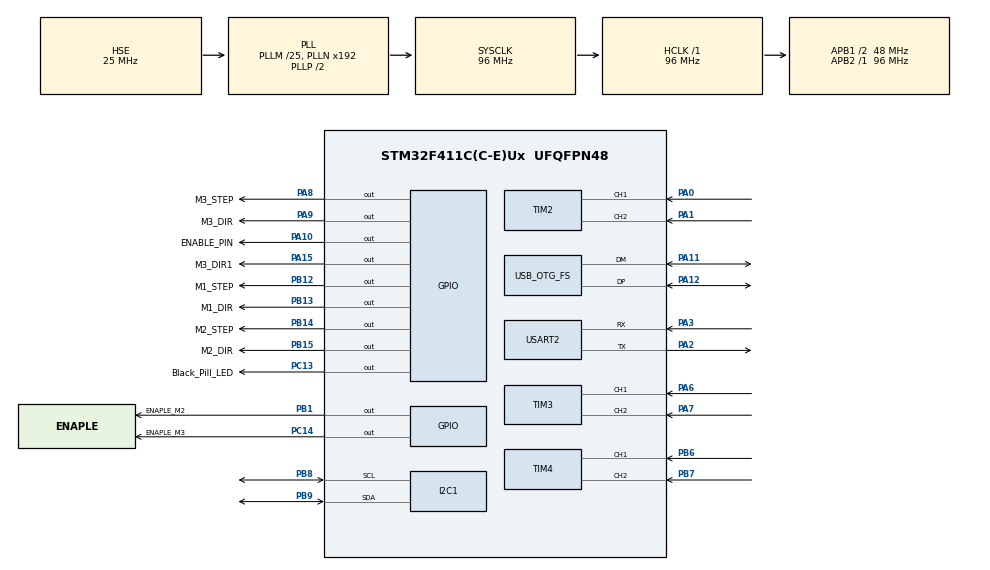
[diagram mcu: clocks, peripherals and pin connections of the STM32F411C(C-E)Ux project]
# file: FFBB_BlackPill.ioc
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ARM.CMSIS.5.6.0.CMSISJjCORE=true
ARM.CMSIS.5.6.0.CMSISJjDSP=Library
Dma.Request0=USART2_RX
Dma.Request1=USART2_TX
Dma.USART2_RX.0.Direction=DMA_PERIPH_TO_MEMORY
Dma.USART2_RX.0.FIFOMode=DMA_FIFOMODE_DISABLE
Dma.USART2_RX.0.Instance=DMA1_Stream5
Dma.USART2_RX.0.MemDataAlignment=DMA_MDATAALIGN_BYTE
Dma.USART2_RX.0.MemInc=DMA_MINC_ENABLE
Dma.USART2_RX.0.Mode=DMA_CIRCULAR
Dma.USART2_RX.0.PeriphDataAlignment=DMA_PDATAALIGN_BYTE
Dma.USART2_RX.0.PeriphInc=DMA_PINC_DISABLE
Dma.USART2_RX.0.Priority=DMA_PRIORITY_LOW
Dma.USART2_TX.1.Direction=DMA_MEMORY_TO_PERIPH
Dma.USART2_TX.1.FIFOMode=DMA_FIFOMODE_DISABLE
Dma.USART2_TX.1.Instance=DMA1_Stream6
Dma.USART2_TX.1.MemDataAlignment=DMA_MDATAALIGN_BYTE
Dma.USART2_TX.1.MemInc=DMA_MINC_ENABLE
Dma.USART2_TX.1.Mode=DMA_NORMAL
Dma.USART2_TX.1.PeriphDataAlignment=DMA_PDATAALIGN_BYTE
Dma.USART2_TX.1.PeriphInc=DMA_PINC_DISABLE
Dma.USART2_TX.1.Priority=DMA_PRIORITY_LOW
FREERTOS.Tasks01=VelocityTask,0,512,Velocit_Task,Default,NULL,Dynamic,NULL,NULL;BalanceTask,2,2048,Balance_Task,Default,NULL,Dynamic,NULL,NULL
FREERTOS.configRECORD_STACK_HIGH_ADDRESS=1
FREERTOS.configUSE_NEWLIB_REENTRANT=1
I2C1.I2C_Mode=I2C_Fast
IWDG.Prescaler=IWDG_PRESCALER_64
Mcu.Family=STM32F4
Mcu.Name=STM32F411C(C-E)Ux
Mcu.Package=UFQFPN48
NVIC.DMA1_Stream5_IRQn=true\:5\:0\:false\:false\:true\:true\:false\:true\:true
NVIC.DMA1_Stream6_IRQn=true\:5\:0\:true\:false\:true\:true\:false\:true\:true
NVIC.OTG_FS_IRQn=true\:5\:0\:false\:false\:true\:true\:false\:true\:true
NVIC.PriorityGroup=NVIC_PRIORITYGROUP_4
NVIC.TIM1_TRG_COM_TIM11_IRQn=true\:1\:0\:true\:false\:true\:false\:true\:true\:true
NVIC.TIM1_UP_TIM10_IRQn=true\:15\:0\:false\:false\:true\:false\:false\:true\:true
NVIC.TimeBase=TIM1_UP_TIM10_IRQn
NVIC.TimeBaseIP=TIM10
NVIC.USART2_IRQn=true\:5\:0\:true\:false\:true\:true\:true\:true\:true
PA0-WKUP.GPIO_PuPd=GPIO_PULLUP
PA0-WKUP.GPIO_Speed=GPIO_SPEED_FREQ_HIGH
PA0-WKUP.Signal=S_TIM2_CH1_ETR
PA1.GPIO_PuPd=GPIO_PULLUP
PA1.GPIO_Speed=GPIO_SPEED_FREQ_HIGH
PA1.Signal=S_TIM2_CH2
PA10.GPIO_Label=ENABLE_PIN
PA10.Signal=GPIO_Output
PA11.Mode=Device_Only
PA11.Signal=USB_OTG_FS_DM
PA12.Mode=Device_Only
PA12.Signal=USB_OTG_FS_DP
PA13.Mode=Serial_Wire
PA13.Signal=SYS_JTMS-SWDIO
PA14.Mode=Serial_Wire
PA14.Signal=SYS_JTCK-SWCLK
PA15.GPIO_Label=M3_DIR1
PA15.Signal=GPIO_Output
PA2.Mode=Asynchronous
PA2.Signal=USART2_TX
PA3.Mode=Asynchronous
PA3.Signal=USART2_RX
PA6.GPIO_PuPd=GPIO_PULLUP
PA6.GPIO_Speed=GPIO_SPEED_FREQ_HIGH
PA6.Signal=S_TIM3_CH1
PA7.GPIO_PuPd=GPIO_PULLUP
PA7.GPIO_Speed=GPIO_SPEED_FREQ_HIGH
PA7.Signal=S_TIM3_CH2
PA8.GPIO_Label=M3_STEP
PA8.Signal=GPIO_Output
PA9.GPIO_Label=M3_DIR
PA9.Signal=GPIO_Output
PB1.GPIO_Label=ENAPLE_M2
PB1.Signal=GPIO_Output
PB12.GPIO_Label=M1_STEP
PB12.Signal=GPIO_Output
PB13.GPIO_Label=M1_DIR
PB13.Signal=GPIO_Output
PB14.GPIO_Label=M2_STEP
PB14.Signal=GPIO_Output
PB15.GPIO_Label=M2_DIR
PB15.Signal=GPIO_Output
PB6.GPIO_PuPd=GPIO_PULLUP
PB6.GPIO_Speed=GPIO_SPEED_FREQ_HIGH
PB6.Signal=S_TIM4_CH1
PB7.GPIO_PuPd=GPIO_PULLUP
PB7.GPIO_Speed=GPIO_SPEED_FREQ_HIGH
PB7.Signal=S_TIM4_CH2
PB8.GPIO_Pu=GPIO_PULLUP
PB8.Mode=I2C
PB8.Signal=I2C1_SCL
PB9.GPIO_Pu=GPIO_PULLUP
PB9.Mode=I2C
PB9.Signal=I2C1_SDA
PC13-ANTI_TAMP.GPIO_Label=Black_Pill_LED
PC13-ANTI_TAMP.Signal=GPIO_Output
PC14-OSC32_IN.GPIO_Label=ENAPLE_M3
PC14-OSC32_IN.Signal=GPIO_Output
PH0\ -\ OSC_IN.Mode=HSE-External-Oscillator
PH0\ -\ OSC_IN.Signal=RCC_OSC_IN
PH1\ -\ OSC_OUT.Mode=HSE-External-Oscillator
PH1\ -\ OSC_OUT.Signal=RCC_OSC_OUT
ProjectManager.HeapSize=0x200
ProjectManager.StackSize=0x400
ProjectManager.TargetToolchain=STM32CubeIDE
RCC.48MHZClocksFreq_Value=48000000
RCC.AHBFreq_Value=96000000
RCC.APB1CLKDivider=RCC_HCLK_DIV2
RCC.APB1Freq_Value=48000000
RCC.APB1TimFreq_Value=96000000
RCC.APB2Freq_Value=96000000
RCC.APB2TimFreq_Value=96000000
RCC.CortexFreq_Value=96000000
RCC.HCLKFreq_Value=96000000
RCC.HSE_VALUE=25000000
RCC.HSI_VALUE=16000000
RCC.LSE_VALUE=32768
RCC.PLLM=25
RCC.SYSCLKFreq_VALUE=96000000
RCC.SYSCLKSource=RCC_SYSCLKSOURCE_PLLCLK
RCC.VCOOutputFreq_Value=192000000
SH.S_TIM2_CH1_ETR.0=TIM2_CH1,Encoder_Interface
SH.S_TIM2_CH2.0=TIM2_CH2,Encoder_Interface
SH.S_TIM3_CH1.0=TIM3_CH1,Encoder_Interface
SH.S_TIM3_CH2.0=TIM3_CH2,Encoder_Interface
SH.S_TIM4_CH1.0=TIM4_CH1,Encoder_Interface
SH.S_TIM4_CH2.0=TIM4_CH2,Encoder_Interface
TIM11.AutoReloadPreload=TIM_AUTORELOAD_PRELOAD_ENABLE
TIM11.Period=1370
TIM11.Prescaler=0
TIM2.EncoderMode=TIM_ENCODERMODE_TI12
TIM3.EncoderMode=TIM_ENCODERMODE_TI12
TIM4.EncoderMode=TIM_ENCODERMODE_TI12
USART2.VirtualMode=VM_ASYNC
USB_DEVICE.CLASS_NAME_FS=CDC
USB_DEVICE.VirtualMode=Cdc
USB_DEVICE.VirtualModeFS=Cdc_FS
USB_OTG_FS.VirtualMode=Device_Only
VP_ARM.CMSIS_VS_CMSISJjCORE_5.3.0_5.6.0.Mode=CMSISJjCORE
VP_ARM.CMSIS_VS_CMSISJjDSP_1.7.0_5.6.0.Mode=CMSISJjDSP
VP_FREERTOS_VS_CMSIS_V1.Mode=CMSIS_V1
VP_IWDG_VS_IWDG.Mode=IWDG_Activate
VP_SYS_VS_tim10.Mode=TIM10
VP_TIM11_VS_ClockSourceINT.Mode=Enable_Timer
VP_USB_DEVICE_VS_USB_DEVICE_CDC_FS.Mode=CDC_FS
board=custom

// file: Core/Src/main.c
/* USER CODE BEGIN Header */
/**
  ******************************************************************************
  * @file           : main.c
  * @brief          : Main program body
  ******************************************************************************
  * @attention
  *
  * Copyright (c) 2025 STMicroelectronics.
  * All rights reserved.
  *
  * This software is licensed under terms that can be found in the LICENSE file
  * in the root directory of this software component.
  * If no LICENSE file comes with this software, it is provided AS-IS.
  *
  ******************************************************************************
  */
/* USER CODE END Header */
#include "main.h"
#include "cmsis_os.h"
#include "usb_device.h"

/* USER CODE BEGIN Includes */
#include <string.h>// <-- ADDED: For serial messages
#include <stdio.h>
#include "mpu6050.h"
#include "FreeRTOS.h"
#include "task.h"
#include "usbd_cdc_if.h"
#include "Ekf.h"
#include "lqr.h"

//#include "Robot.h"

/* USER CODE END Includes */

I2C_HandleTypeDef hi2c1;

IWDG_HandleTypeDef hiwdg;

TIM_HandleTypeDef htim2;
TIM_HandleTypeDef htim3;
TIM_HandleTypeDef htim4;
TIM_HandleTypeDef htim11;

UART_HandleTypeDef huart2;
DMA_HandleTypeDef hdma_usart2_rx;
DMA_HandleTypeDef hdma_usart2_tx;

osThreadId VelocityTaskHandle;
osThreadId BalanceTaskHandle;
/* USER CODE BEGIN PV */

// Macros
//#define TIMER_FREQ_HZ   80000   // was 40000
//#define MAX_SPEED_HZ    28000
#define MAX_SPEED_HZ    28000   // was 28000
#define TIMER_FREQ_HZ 70021

#define BALANCE_TASK_LOOP_MS 5
#define VELOCITY_TASK_LOOP_MS 20 // 50 Hz
#define USTEP_8              8
#define USTEP_16             16

// Constants for controlling the stepper motors
#define STEPS_PER_REV     3200        // 200 steps × 16 microsteps — match your DM556T DIP switches
#define STEPS_PER_RAD     (STEPS_PER_REV / (2.0f * 3.14159f))  // ~509.3 steps/rad
#define TORQUE_TO_OMEGA   1.5f    /* (rad/s) / Nm — tune this */
#define ENA_DEADBAND_HZ  150   // tune this — below this speed, disable motor
//#define TORQUE_TO_OMEGA   0.5f    /* (rad/s) / Nm — tune this */
//#define TORQUE_TO_OMEGA   1.0f
//#define TORQUE_TO_OMEGA   1.5f
//#define TORQUE_TO_OMEGA   4.0f
//#define TORQUE_TO_OMEGA   2.5f
//#define TORQUE_TO_OMEGA   3.0f
//#define TORQUE_TO_OMEGA   4.0f
//#define TORQUE_TO_OMEGA   5.0f

#define ENCODER_CPR  4000.0f

// ═══════════════════════════════════════════════════════════
// PHYSICAL GEOMETRY PARAMETERS
// ═══════════════════════════════════════════════════════════
#define BALL_DIAMETER_MM    350.0f
#define WHEEL_DIAMETER_MM   125.0f
#define RK                  (BALL_DIAMETER_MM  / 2000.0f)  // = 0.175  m
#define RW                  (WHEEL_DIAMETER_MM / 2000.0f)  // = 0.0625 m
#define RW_OVER_RK          (RW / RK)                      // = 0.35714

#define ZENITH_ANGLE_DEG    45.0f
#define ALPHA_RAD           (ZENITH_ANGLE_DEG * 3.14159265f / 180.0f)  // = 0.7854 rad

#define GAMMA1_DEG          120.0f
#define GAMMA2_DEG          240.0f
#define GAMMA3_DEG          0.0f
#define GAMMA1_RAD          (GAMMA1_DEG * 3.14159265f / 180.0f)
#define GAMMA2_RAD          (GAMMA2_DEG * 3.14159265f / 180.0f)
#define GAMMA3_RAD          (GAMMA3_DEG * 3.14159265f / 180.0f)

// ═══════════════════════════════════════════════════════════
// KINEMATIC MIXING COEFFICIENTS
// Forward kinematics: ball velocity from wheel angular velocity
//
// vx = (Rw/Rk) × [−sin(γ1)·ω1 − sin(γ2)·ω2 − sin(γ3)·ω3]
// vy = (Rw/Rk) × [+cos(γ1)·ω1 + cos(γ2)·ω2 + cos(γ3)·ω3]
//
// Substituting γ1=120°, γ2=240°, γ3=0°, Rw/Rk=0.35714:
//   sin120°=+0.8660, sin240°=−0.8660, sin0°= 0.0000
//   cos120°=−0.5000, cos240°=−0.5000, cos0°=+1.0000
// ═══════════════════════════════════════════════════════════
#define KIN_VX_W1   (-(RW_OVER_RK) * sinf(GAMMA1_RAD))  // = −0.3093
#define KIN_VX_W2   (-(RW_OVER_RK) * sinf(GAMMA2_RAD))  // = +0.3093
#define KIN_VX_W3   (-(RW_OVER_RK) * sinf(GAMMA3_RAD))  // =  0.0000

#define KIN_VY_W1   (+(RW_OVER_RK) * cosf(GAMMA1_RAD))  // = −0.1786
#define KIN_VY_W2   (+(RW_OVER_RK) * cosf(GAMMA2_RAD))  // = −0.1786
#define KIN_VY_W3   (+(RW_OVER_RK) * cosf(GAMMA3_RAD))  // = +0.3571

#define TILT_LIMIT_RAD    0.1f

#define STEPS_PER_RAD_8     254.648f
#define STEPS_PER_RAD_16    509.296f
#define USTEP_THRESH_HIGH   1.5f
#define USTEP_THRESH_LOW    0.8f
#define USTEP_CONFIRM_TICKS 5

#define J_WHEEL             0.00320//0.0006f       // kg·m² — tune to your wheel's inertia if robot vibrates could use this  0.00320

#define TILT_HARD_STOP_RAD 0.35f   // ~20° recovery ceiling
#define PHI_OFFSET    -0.022f
#define THETA_OFFSET  -0.185f

// USART
#define UART_RX_BUF_SIZE  64
#define CMD_PACKET_SIZE   15
static uint8_t uart_rx_buf[UART_RX_BUF_SIZE];
static uint8_t uart_tx_buf[192];
volatile uint8_t robot_mode = 0; // 0 = Standby/Disabled, 1 = Active Balancing
uint8_t prev_robot_mode = 0;

extern float integral_error_x;
extern float integral_error_y;

volatile int32_t m1_speed_hz = 0;
volatile int32_t m2_speed_hz = 0;
volatile int32_t m3_speed_hz = 0;

// Accumulators for the Bresenham stepping algorithm
volatile uint32_t m1_accumulator = 0;
volatile uint32_t m2_accumulator = 0;
volatile uint32_t m3_accumulator = 0;

// Encoder Tracking Variables
volatile int32_t enc1_velocity = 0; // Ticks per loop for Wheel 1
volatile int32_t enc2_velocity = 0; // Ticks per loop for Wheel 2
volatile int32_t enc3_velocity = 0; // Ticks per loop for Wheel 3

// Previous timer counts
uint32_t enc1_prev = 0;
uint16_t enc2_prev = 0;
uint16_t enc3_prev = 0;

//static float m1_omega = 0.0f;
//static float m2_omega = 0.0f;
//static float m3_omega = 0.0f;

MPU6050_t MPU6050;

/* USER CODE END PV */

void SystemClock_Config(void);
static void MX_GPIO_Init(void);
static void MX_DMA_Init(void);
static void MX_I2C1_Init(void);
static void MX_TIM2_Init(void);
static void MX_TIM4_Init(void);
static void MX_USART2_UART_Init(void);
static void MX_TIM3_Init(void);
static void MX_TIM11_Init(void);
static void MX_IWDG_Init(void);
void Velocit_Task(void const * argument);
void Balance_Task(void const * argument);

/* USER CODE BEGIN PFP */

void Update_Encoder_Velocities(void);
void Set_Motor_Speeds(int32_t speed1, int32_t speed2, int32_t speed3);
void convert_torque_to_speed(float t1, float t2, float t3);
void USART2_IRQHandler_Extension(void);

/* USER CODE END PFP */

int main(void)
{

  /* MCU Configuration--------------------------------------------------------*/

  /* Reset of all peripherals, Initializes the Flash interface and the Systick. */
  HAL_Init();

  /* Configure the system clock */
  SystemClock_Config();

  /* Initialize all configured peripherals */
  MX_GPIO_Init();
  MX_DMA_Init();
  MX_I2C1_Init();
  MX_TIM2_Init();
  MX_TIM4_Init();
  MX_USART2_UART_Init();
  MX_TIM3_Init();
  MX_TIM11_Init();
//  MX_IWDG_Init();
  /* USER CODE BEGIN 2 */
  /* USER CODE BEGIN 2 */
  HAL_TIM_Base_Start_IT(&htim11);
  HAL_TIM_Encoder_Start(&htim2, TIM_CHANNEL_ALL);
  HAL_TIM_Encoder_Start(&htim3, TIM_CHANNEL_ALL);
  HAL_TIM_Encoder_Start(&htim4, TIM_CHANNEL_ALL);
  MX_USB_DEVICE_Init();
  HAL_UART_Receive_DMA(&huart2, uart_rx_buf, UART_RX_BUF_SIZE);
  __HAL_UART_ENABLE_IT(&huart2, UART_IT_IDLE);

  CoreDebug->DEMCR |= CoreDebug_DEMCR_TRCENA_Msk;
  DWT->CYCCNT = 0;
  DWT->CTRL  |= DWT_CTRL_CYCCNTENA_Msk;

   // 1. Wait a moment for the MPU6050 to power up
 HAL_Delay(100);
 HAL_StatusTypeDef mpu_status = HAL_I2C_IsDeviceReady(&hi2c1, (0x68 << 1), 3, 100);
// if (MPU6050_Init(&hi2c1) != 0 && mpu_status != HAL_OK) {
////     // Initialization failed. Blink fast and stop.
////     sprintf(usb_buf, sizeof(usb_buf), "MPU6050 INIT FAILED! Check wiring.\r\n");
////     CDC_Transmit_FS((uint8_t*)usb_buf, strlen(usb_buf));
//     while (1) {
//         HAL_GPIO_TogglePin(Black_Pill_LED_GPIO_Port, Black_Pill_LED_Pin);
//         HAL_Delay(50);
//     }
// }

  /* USER CODE END 2 */

  /* Create the thread(s) */
  /* definition and creation of VelocityTask */
  osThreadDef(VelocityTask, Velocit_Task, osPriorityNormal, 0, 512);
  VelocityTaskHandle = osThreadCreate(osThread(VelocityTask), NULL);

  /* definition and creation of BalanceTask */
  osThreadDef(BalanceTask, Balance_Task, osPriorityHigh, 0, 2048);
  BalanceTaskHandle = osThreadCreate(osThread(BalanceTask), NULL);

  /* Start scheduler */
  osKernelStart();

  /* We should never get here as control is now taken by the scheduler */

  /* Infinite loop */
  while (1)
  {

  }
}

void SystemClock_Config(void)
{
  RCC_OscInitTypeDef RCC_OscInitStruct = {0};
  RCC_ClkInitTypeDef RCC_ClkInitStruct = {0};

  /** Configure the main internal regulator output voltage
  */
  __HAL_RCC_PWR_CLK_ENABLE();
  __HAL_PWR_VOLTAGESCALING_CONFIG(PWR_REGULATOR_VOLTAGE_SCALE1);

  /** Initializes the RCC Oscillators according to the specified parameters
  * in the RCC_OscInitTypeDef structure.
  */
  RCC_OscInitStruct.OscillatorType = RCC_OSCILLATORTYPE_LSI|RCC_OSCILLATORTYPE_HSE;
  RCC_OscInitStruct.HSEState = RCC_HSE_ON;
  RCC_OscInitStruct.LSIState = RCC_LSI_ON;
  RCC_OscInitStruct.PLL.PLLState = RCC_PLL_ON;
  RCC_OscInitStruct.PLL.PLLSource = RCC_PLLSOURCE_HSE;
  RCC_OscInitStruct.PLL.PLLM = 25;
  RCC_OscInitStruct.PLL.PLLN = 192;
  RCC_OscInitStruct.PLL.PLLP = RCC_PLLP_DIV2;
  RCC_OscInitStruct.PLL.PLLQ = 4;
  if (HAL_RCC_OscConfig(&RCC_OscInitStruct) != HAL_OK)
  {
    Error_Handler();
  }

  /** Initializes the CPU, AHB and APB buses clocks
  */
  RCC_ClkInitStruct.ClockType = RCC_CLOCKTYPE_HCLK|RCC_CLOCKTYPE_SYSCLK
                              |RCC_CLOCKTYPE_PCLK1|RCC_CLOCKTYPE_PCLK2;
  RCC_ClkInitStruct.SYSCLKSource = RCC_SYSCLKSOURCE_PLLCLK;
  RCC_ClkInitStruct.AHBCLKDivider = RCC_SYSCLK_DIV1;
  RCC_ClkInitStruct.APB1CLKDivider = RCC_HCLK_DIV2;
  RCC_ClkInitStruct.APB2CLKDivider = RCC_HCLK_DIV1;

  if (HAL_RCC_ClockConfig(&RCC_ClkInitStruct, FLASH_LATENCY_3) != HAL_OK)
  {
    Error_Handler();
  }
}

static void MX_I2C1_Init(void)
{

  hi2c1.Instance = I2C1;
  hi2c1.Init.ClockSpeed = 400000;
  hi2c1.Init.DutyCycle = I2C_DUTYCYCLE_2;
  hi2c1.Init.OwnAddress1 = 0;
  hi2c1.Init.AddressingMode = I2C_ADDRESSINGMODE_7BIT;
  hi2c1.Init.DualAddressMode = I2C_DUALADDRESS_DISABLE;
  hi2c1.Init.OwnAddress2 = 0;
  hi2c1.Init.GeneralCallMode = I2C_GENERALCALL_DISABLE;
  hi2c1.Init.NoStretchMode = I2C_NOSTRETCH_DISABLE;
  if (HAL_I2C_Init(&hi2c1) != HAL_OK)
  {
    Error_Handler();
  }

}

static void MX_IWDG_Init(void)
{

  hiwdg.Instance = IWDG;
  hiwdg.Init.Prescaler = IWDG_PRESCALER_64;
  hiwdg.Init.Reload = 4095;
  if (HAL_IWDG_Init(&hiwdg) != HAL_OK)
  {
    Error_Handler();
  }

}

static void MX_TIM2_Init(void)
{

  TIM_Encoder_InitTypeDef sConfig = {0};
  TIM_MasterConfigTypeDef sMasterConfig = {0};

  htim2.Instance = TIM2;
  htim2.Init.Prescaler = 0;
  htim2.Init.CounterMode = TIM_COUNTERMODE_UP;
  htim2.Init.Period = 4294967295;
  htim2.Init.ClockDivision = TIM_CLOCKDIVISION_DIV1;
  htim2.Init.AutoReloadPreload = TIM_AUTORELOAD_PRELOAD_DISABLE;
  sConfig.EncoderMode = TIM_ENCODERMODE_TI12;
  sConfig.IC1Polarity = TIM_ICPOLARITY_RISING;
  sConfig.IC1Selection = TIM_ICSELECTION_DIRECTTI;
  sConfig.IC1Prescaler = TIM_ICPSC_DIV1;
  sConfig.IC1Filter = 0;
  sConfig.IC2Polarity = TIM_ICPOLARITY_RISING;
  sConfig.IC2Selection = TIM_ICSELECTION_DIRECTTI;
  sConfig.IC2Prescaler = TIM_ICPSC_DIV1;
  sConfig.IC2Filter = 0;
  if (HAL_TIM_Encoder_Init(&htim2, &sConfig) != HAL_OK)
  {
    Error_Handler();
  }
  sMasterConfig.MasterOutputTrigger = TIM_TRGO_RESET;
  sMasterConfig.MasterSlaveMode = TIM_MASTERSLAVEMODE_DISABLE;
  if (HAL_TIMEx_MasterConfigSynchronization(&htim2, &sMasterConfig) != HAL_OK)
  {
    Error_Handler();
  }

}

static void MX_TIM3_Init(void)
{

  TIM_Encoder_InitTypeDef sConfig = {0};
  TIM_MasterConfigTypeDef sMasterConfig = {0};

  htim3.Instance = TIM3;
  htim3.Init.Prescaler = 0;
  htim3.Init.CounterMode = TIM_COUNTERMODE_UP;
  htim3.Init.Period = 65535;
  htim3.Init.ClockDivision = TIM_CLOCKDIVISION_DIV1;
  htim3.Init.AutoReloadPreload = TIM_AUTORELOAD_PRELOAD_DISABLE;
  sConfig.EncoderMode = TIM_ENCODERMODE_TI12;
  sConfig.IC1Polarity = TIM_ICPOLARITY_RISING;
  sConfig.IC1Selection = TIM_ICSELECTION_DIRECTTI;
  sConfig.IC1Prescaler = TIM_ICPSC_DIV1;
  sConfig.IC1Filter = 0;
  sConfig.IC2Polarity = TIM_ICPOLARITY_RISING;
  sConfig.IC2Selection = TIM_ICSELECTION_DIRECTTI;
  sConfig.IC2Prescaler = TIM_ICPSC_DIV1;
  sConfig.IC2Filter = 0;
  if (HAL_TIM_Encoder_Init(&htim3, &sConfig) != HAL_OK)
  {
    Error_Handler();
  }
  sMasterConfig.MasterOutputTrigger = TIM_TRGO_RESET;
  sMasterConfig.MasterSlaveMode = TIM_MASTERSLAVEMODE_DISABLE;
  if (HAL_TIMEx_MasterConfigSynchronization(&htim3, &sMasterConfig) != HAL_OK)
  {
    Error_Handler();
  }

}

static void MX_TIM4_Init(void)
{

  TIM_Encoder_InitTypeDef sConfig = {0};
  TIM_MasterConfigTypeDef sMasterConfig = {0};

  htim4.Instance = TIM4;
  htim4.Init.Prescaler = 0;
  htim4.Init.CounterMode = TIM_COUNTERMODE_UP;
  htim4.Init.Period = 65535;
  htim4.Init.ClockDivision = TIM_CLOCKDIVISION_DIV1;
  htim4.Init.AutoReloadPreload = TIM_AUTORELOAD_PRELOAD_DISABLE;
  sConfig.EncoderMode = TIM_ENCODERMODE_TI12;
  sConfig.IC1Polarity = TIM_ICPOLARITY_RISING;
  sConfig.IC1Selection = TIM_ICSELECTION_DIRECTTI;
  sConfig.IC1Prescaler = TIM_ICPSC_DIV1;
  sConfig.IC1Filter = 0;
  sConfig.IC2Polarity = TIM_ICPOLARITY_RISING;
  sConfig.IC2Selection = TIM_ICSELECTION_DIRECTTI;
  sConfig.IC2Prescaler = TIM_ICPSC_DIV1;
  sConfig.IC2Filter = 0;
  if (HAL_TIM_Encoder_Init(&htim4, &sConfig) != HAL_OK)
  {
    Error_Handler();
  }
  sMasterConfig.MasterOutputTrigger = TIM_TRGO_RESET;
  sMasterConfig.MasterSlaveMode = TIM_MASTERSLAVEMODE_DISABLE;
  if (HAL_TIMEx_MasterConfigSynchronization(&htim4, &sMasterConfig) != HAL_OK)
  {
    Error_Handler();
  }

}

static void MX_TIM11_Init(void)
{

  htim11.Instance = TIM11;
  htim11.Init.Prescaler = 0;
  htim11.Init.CounterMode = TIM_COUNTERMODE_UP;
  htim11.Init.Period = 1370;
  htim11.Init.ClockDivision = TIM_CLOCKDIVISION_DIV1;
  htim11.Init.AutoReloadPreload = TIM_AUTORELOAD_PRELOAD_ENABLE;
  if (HAL_TIM_Base_Init(&htim11) != HAL_OK)
  {
    Error_Handler();
  }

}

static void MX_USART2_UART_Init(void)
{

  huart2.Instance = USART2;
  huart2.Init.BaudRate = 115200;
  huart2.Init.WordLength = UART_WORDLENGTH_8B;
  huart2.Init.StopBits = UART_STOPBITS_1;
  huart2.Init.Parity = UART_PARITY_NONE;
  huart2.Init.Mode = UART_MODE_TX_RX;
  huart2.Init.HwFlowCtl = UART_HWCONTROL_NONE;
  huart2.Init.OverSampling = UART_OVERSAMPLING_16;
  if (HAL_UART_Init(&huart2) != HAL_OK)
  {
    Error_Handler();
  }

}

static void MX_DMA_Init(void)
{

  /* DMA controller clock enable */
  __HAL_RCC_DMA1_CLK_ENABLE();

  /* DMA interrupt init */
  /* DMA1_Stream5_IRQn interrupt configuration */
  HAL_NVIC_SetPriority(DMA1_Stream5_IRQn, 5, 0);
  HAL_NVIC_EnableIRQ(DMA1_Stream5_IRQn);
  /* DMA1_Stream6_IRQn interrupt configuration */
  HAL_NVIC_SetPriority(DMA1_Stream6_IRQn, 5, 0);
  HAL_NVIC_EnableIRQ(DMA1_Stream6_IRQn);

}

static void MX_GPIO_Init(void)
{
  GPIO_InitTypeDef GPIO_InitStruct = {0};

  /* GPIO Ports Clock Enable */
  __HAL_RCC_GPIOC_CLK_ENABLE();
  __HAL_RCC_GPIOH_CLK_ENABLE();
  __HAL_RCC_GPIOA_CLK_ENABLE();
  __HAL_RCC_GPIOB_CLK_ENABLE();

  /*Configure GPIO pin Output Level */
  HAL_GPIO_WritePin(GPIOC, Black_Pill_LED_Pin|ENAPLE_M3_Pin, GPIO_PIN_RESET);

  /*Configure GPIO pin Output Level */
  HAL_GPIO_WritePin(GPIOB, ENAPLE_M2_Pin|M1_STEP_Pin|M1_DIR_Pin|M2_STEP_Pin
                          |M2_DIR_Pin, GPIO_PIN_RESET);

  /*Configure GPIO pin Output Level */
  HAL_GPIO_WritePin(GPIOA, M3_STEP_Pin|M3_DIR_Pin|ENABLE_PIN_Pin|M3_DIR1_Pin, GPIO_PIN_RESET);

  /*Configure GPIO pins : Black_Pill_LED_Pin ENAPLE_M3_Pin */
  GPIO_InitStruct.Pin = Black_Pill_LED_Pin|ENAPLE_M3_Pin;
  GPIO_InitStruct.Mode = GPIO_MODE_OUTPUT_PP;
  GPIO_InitStruct.Pull = GPIO_NOPULL;
  GPIO_InitStruct.Speed = GPIO_SPEED_FREQ_LOW;
  HAL_GPIO_Init(GPIOC, &GPIO_InitStruct);

  /*Configure GPIO pins : ENAPLE_M2_Pin M1_STEP_Pin M1_DIR_Pin M2_STEP_Pin
                           M2_DIR_Pin */
  GPIO_InitStruct.Pin = ENAPLE_M2_Pin|M1_STEP_Pin|M1_DIR_Pin|M2_STEP_Pin
                          |M2_DIR_Pin;
  GPIO_InitStruct.Mode = GPIO_MODE_OUTPUT_PP;
  GPIO_InitStruct.Pull = GPIO_NOPULL;
  GPIO_InitStruct.Speed = GPIO_SPEED_FREQ_LOW;
  HAL_GPIO_Init(GPIOB, &GPIO_InitStruct);

  /*Configure GPIO pins : M3_STEP_Pin M3_DIR_Pin ENABLE_PIN_Pin M3_DIR1_Pin */
  GPIO_InitStruct.Pin = M3_STEP_Pin|M3_DIR_Pin|ENABLE_PIN_Pin|M3_DIR1_Pin;
  GPIO_InitStruct.Mode = GPIO_MODE_OUTPUT_PP;
  GPIO_InitStruct.Pull = GPIO_NOPULL;
  GPIO_InitStruct.Speed = GPIO_SPEED_FREQ_LOW;
  HAL_GPIO_Init(GPIOA, &GPIO_InitStruct);

  /* USER CODE BEGIN MX_GPIO_Init_2 */
  /* ── TIM2 encoder — Motor 1 — PA0 = CH1 (A+), PA1 = CH2 (B+) ──
     Both PA0 and PA1 are 5V tolerant. J103 right side. AM26LS32 output → here. */
  GPIO_InitStruct.Pin       = GPIO_PIN_0 | GPIO_PIN_1;
  GPIO_InitStruct.Mode      = GPIO_MODE_AF_PP;
  GPIO_InitStruct.Pull      = GPIO_PULLUP;
  GPIO_InitStruct.Speed     = GPIO_SPEED_FREQ_HIGH;
  GPIO_InitStruct.Alternate = GPIO_AF1_TIM2;
  HAL_GPIO_Init(GPIOA, &GPIO_InitStruct);

  /* ── TIM3 encoder — Motor 2 — PA6 = CH1 (A+), PA7 = CH2 (B+) ──
     Both PA6 and PA7 are 5V tolerant. J103 right side. */
  GPIO_InitStruct.Pin       = GPIO_PIN_6 | GPIO_PIN_7;
  GPIO_InitStruct.Mode      = GPIO_MODE_AF_PP;
  GPIO_InitStruct.Pull      = GPIO_PULLUP;
  GPIO_InitStruct.Speed     = GPIO_SPEED_FREQ_HIGH;
  GPIO_InitStruct.Alternate = GPIO_AF2_TIM3;
  HAL_GPIO_Init(GPIOA, &GPIO_InitStruct);

  /* ── TIM4 encoder — Motor 3 — PB6 = CH1 (A+), PB7 = CH2 (B+) ──
     Both PB6 and PB7 are 5V tolerant. J102 left side — no alternative on F411. */
  GPIO_InitStruct.Pin       = GPIO_PIN_6 | GPIO_PIN_7;
  GPIO_InitStruct.Mode      = GPIO_MODE_AF_PP;
  GPIO_InitStruct.Pull      = GPIO_PULLUP;
  GPIO_InitStruct.Speed     = GPIO_SPEED_FREQ_HIGH;
  GPIO_InitStruct.Alternate = GPIO_AF2_TIM4;
  HAL_GPIO_Init(GPIOB, &GPIO_InitStruct);

  /* USER CODE END MX_GPIO_Init_2 */
}

/* USER CODE BEGIN 4 */
// ═══════════════════════════════════════════════════════════════
// CDC Receive — parses velocity commands from laptop
// Protocol: [0xAA][0x55][vx f32LE][vy f32LE][yaw_rate f32LE][XOR checksum]
// Total: 15 bytes
// Send from Python:
//   payload = struct.pack('<3f', vx, vy, yaw_rate)
//   checksum = 0
//   for b in payload: checksum ^= b
//   ser.write(bytes([0xAA, 0x55]) + payload + bytes([checksum]))
// ═══════════════════════════════════════════════════════════════
void CDC_ReceiveCallback(uint8_t* buf, uint32_t len)
{
    if (len < 15) return;

    // Find sync header
    for (uint32_t i = 0; i <= len - 15; i++) {
        if (buf[i] == 0xAA && buf[i+1] == 0x55) {
            // Verify checksum (XOR of bytes 2–13)
            uint8_t chk = 0;
            for (int k = 2; k < 14; k++) {
                chk ^= buf[i+k];
            }
            if (chk != buf[i+14]) continue;  // bad checksum, skip

            // Parse three floats (little-endian)
            float vx, vy, yaw_rate;
            memcpy(&vx,       &buf[i+2],  4);
            memcpy(&vy,       &buf[i+6],  4);
            memcpy(&yaw_rate, &buf[i+10], 4);

            // Update LQR references
            updateReferencesFromROS(vx, vy, yaw_rate, HAL_GetTick());
            return;
        }
    }
}

void USART2_IRQHandler_Extension(void)
{
    /* Only handle IDLE line interrupt */
    if (!__HAL_UART_GET_FLAG(&huart2, UART_FLAG_IDLE)) return;
    __HAL_UART_CLEAR_IDLEFLAG(&huart2);

    uint16_t bytes = UART_RX_BUF_SIZE - (uint16_t)__HAL_DMA_GET_COUNTER(huart2.hdmarx);

    if (bytes < 16) goto reset_dma;

    for (uint16_t i = 0; i + 16 <= bytes; i++) {
        if (uart_rx_buf[i] != 0xAA || uart_rx_buf[i+1] != 0x55) continue;

        uint8_t chk = 0;
        for (int k = 2; k < 15; k++) chk ^= uart_rx_buf[i+k];
        if (chk != uart_rx_buf[i+15]) continue;

        uint8_t rx_mode = uart_rx_buf[i+2];
        float vx, vy, yaw;
        memcpy(&vx,  &uart_rx_buf[i+3],  4);
        memcpy(&vy,  &uart_rx_buf[i+7],  4);
        memcpy(&yaw, &uart_rx_buf[i+11], 4);

        robot_mode = rx_mode;
        updateReferencesFromROS(vx, vy, yaw, HAL_GetTick());
        break;
    }

reset_dma:
    HAL_UART_DMAStop(&huart2);
    HAL_UART_Receive_DMA(&huart2, uart_rx_buf, UART_RX_BUF_SIZE);
}

void Set_Motor_Speeds(int32_t speed1, int32_t speed2, int32_t speed3) {
    m1_speed_hz = speed1;
    m2_speed_hz = speed2;
    m3_speed_hz = speed3;
}

void Update_Encoder_Velocities(void) {
    // ----------------------------------------------------
    // MOTOR 1 (TIM2 is a 32-bit timer on the F411)
    // ----------------------------------------------------
    uint32_t enc1_current = htim2.Instance->CNT;
    enc1_velocity = (int32_t)(enc1_current - enc1_prev);
    enc1_prev = enc1_current;

    // ----------------------------------------------------
    // MOTOR 2 (TIM3 is a 16-bit timer)
    // ----------------------------------------------------
    uint16_t enc2_current = htim3.Instance->CNT;
    int16_t enc2_diff  = (int16_t)(enc2_current - enc2_prev);
    enc2_velocity = (int32_t)enc2_diff;
    enc2_prev = enc2_current;

    // ----------------------------------------------------
    // MOTOR 3 (TIM4 is a 16-bit timer)
    // ----------------------------------------------------
    uint16_t enc3_current = htim4.Instance->CNT;
    int16_t enc3_diff  = (int16_t)(enc3_current - enc3_prev);
    enc3_velocity = (int32_t)enc3_diff;
    enc3_prev = enc3_current;
}

/* ═══════════════════════════════════════════════════════════════
 * convert_torque_to_speed — DIRECT mapping, no integration
 *
 * The LQR torque is treated as a velocity command proportion.
 * TORQUE_TO_OMEGA maps Nm to rad/s. Tune this constant on hardware:
 *   - Too large  → oscillation, aggressive response
 *   - Too small  → sluggish, falls over slowly
 * Start at 16.0, halve it if the robot oscillates.
 * ═══════════════════════════════════════════════════════════════ */
// Add these static variables inside convert_torque_to_speed:
void convert_torque_to_speed(float t1, float t2, float t3)
{
    // Persistence for the ramping logic (prevents wheel slip)
    static int32_t prev_spd1 = 0, prev_spd2 = 0, prev_spd3 = 0;

    // --- TUNING PARAMETERS ---

    // TORQUE_TO_OMEGA: Master sensitivity. Start at 6.0 for 17-22kg [History]

    // STEPS_PER_RAD:
    // For 3200: (3200 / 2*PI) = 509.296f
    // For 6400: (6400 / 2*PI) = 1018.592f

    // MIN_STEPS: Deadband to stop "stepper hum" and IMU pollution.
    // Recommended: 1200 Hz for 3200x; 2400 Hz for 6400x [1, 2]

    // MAX_RAMP: Acceleration limit per loop (dt=0.002s).
    // Tune this to prevent wheel slip on the ball.
    // For 3200: 320 steps/loop (160,000 steps/s^2)
    // For 6400: 640 steps/loop (320,000 steps/s^2)
    const int32_t MAX_RAMP   = 80;

    // MAX_SPEED_HZ: Hardware limit based on 60V supply corner speed.
    // For 3200: 14,000 Hz (~2.2 m/s robot speed)
    // For 6400: 28,000 Hz (~2.2 m/s robot speed) [2, 3]

    // 1. Map Torque directly to Radian Velocity (rad/s)
    float w1 = t1 * TORQUE_TO_OMEGA;
    float w2 = t2 * TORQUE_TO_OMEGA;
    float w3 = t3 * TORQUE_TO_OMEGA;

    // 2. Convert Rad/s to Target Step Frequency (Hz)
    int32_t target1 = (int32_t)(w1 * STEPS_PER_RAD);
    int32_t target2 = (int32_t)(w2 * STEPS_PER_RAD);
    int32_t target3 = (int32_t)(w3 * STEPS_PER_RAD);

    // 3. Deadband with hysteresis — prevents 1199↔1201 toggling
    //    DEAD_EXIT  = stop threshold  — if below this, motor stops
    //    DEAD_ENTER = start threshold — need this speed to START moving
    //    Effect: motor stops at 1200, but needs 1400 to restart
    //    This eliminates the clicking at small angles
//    const int32_t DEAD_EXIT  = 0;
//    const int32_t DEAD_ENTER = 0;
//
//    if (abs(target1) < DEAD_EXIT)  { target1 = 0; prev_spd1 = 0; }
//    else if (abs(target1) < DEAD_ENTER && prev_spd1 == 0) { target1 = 0; }
//
//    if (abs(target2) < DEAD_EXIT)  { target2 = 0; prev_spd2 = 0; }
//    else if (abs(target2) < DEAD_ENTER && prev_spd2 == 0) { target2 = 0; }
//
//    if (abs(target3) < DEAD_EXIT)  { target3 = 0; prev_spd3 = 0; }
//    else if (abs(target3) < DEAD_ENTER && prev_spd3 == 0) { target3 = 0; }

    // 4. Rate Limiting (Ramp): Protects the 17kg mass from sudden jerk/slip
    int32_t diff1 = target1 - prev_spd1;
    int32_t diff2 = target2 - prev_spd2;
    int32_t diff3 = target3 - prev_spd3;

    if (diff1 >  MAX_RAMP) diff1 =  MAX_RAMP;
    if (diff1 < -MAX_RAMP) diff1 = -MAX_RAMP;
    if (diff2 >  MAX_RAMP) diff2 =  MAX_RAMP;
    if (diff2 < -MAX_RAMP) diff2 = -MAX_RAMP;
    if (diff3 >  MAX_RAMP) diff3 =  MAX_RAMP;
    if (diff3 < -MAX_RAMP) diff3 = -MAX_RAMP;

    // 5. Update Persistent Speeds
    prev_spd1 += diff1;
    prev_spd2 += diff2;
    prev_spd3 += diff3;

    // 6. Final Hardware Output (Clamped to Electrical Corner Speed)
    Set_Motor_Speeds(
        (int32_t)fmaxf(-MAX_SPEED_HZ, fminf(MAX_SPEED_HZ, (float)prev_spd1)),
        (int32_t)fmaxf(-MAX_SPEED_HZ, fminf(MAX_SPEED_HZ, (float)prev_spd2)),
        (int32_t)fmaxf(-MAX_SPEED_HZ, fminf(MAX_SPEED_HZ, (float)prev_spd3))
    );
}
/* USER CODE END 4 */

void Velocit_Task(void const * argument)
{
  /* init code for USB_DEVICE */
//  MX_USB_DEVICE_Init();
  /* USER CODE BEGIN 5 */
	TickType_t xLastWakeTime = xTaskGetTickCount();

  /* Infinite loop */
  for(;;)
  {
	  vTaskDelayUntil(&xLastWakeTime, 10);
  }
  /* USER CODE END 5 */
}

void Balance_Task(void const * argument)
{
  /* USER CODE BEGIN Balance_Task */
    const float      DT_S       = 0.005f;
    const TickType_t EKF_PERIOD = pdMS_TO_TICKS(5);
    static char      usb_buf[256];
    uint32_t         tick_count = 0;
    const float      D2R        = 3.14159265f / 180.0f;
    static float gyroz_filter = 0.0f;
    const float gyroz_LPF = 0.05f;

   // static const float TICKS_TO_RADS = 0.785398f;
   //static const float TICKS_TO_RADS = 0.392699f; // (x16)    2pi/(microstepping * delta t)
   //static const float TICKS_TO_RADS = 3.1415926f; // (x2)    2pi/(microstepping * delta t)
//   static const float TICKS_TO_RADS = (2.0f * 3.14159265f) / (STEPS_PER_REV * DT_S);
    static const float TICKS_TO_RADS = (2.0f * 3.14159265f) / (ENCODER_CPR * DT_S);

    vTaskDelay(pdMS_TO_TICKS(200));
    MPU6050_Init(&hi2c1);
    vTaskDelay(pdMS_TO_TICKS(50));
    BallbotEKF_Init();

    // ── Gyro bias calibration ───────────────────────────────────
    // FIX: disable motors so vibration does not corrupt bias
    HAL_GPIO_WritePin(ENABLE_PIN_GPIO_Port, ENABLE_PIN_Pin, GPIO_PIN_SET);
    vTaskDelay(pdMS_TO_TICKS(2000));

    float gyro_bias_x = 0.0f, gyro_bias_y = 0.0f, gyro_bias_z = 0.0f;
    const int CAL_SAMPLES = 400;
    for (int i = 0; i < CAL_SAMPLES; i++) {
        MPU6050_Read_All(&hi2c1, &MPU6050);
        gyro_bias_x += MPU6050.Gx;
        gyro_bias_y += MPU6050.Gy;
        gyro_bias_z += MPU6050.Gz;
        vTaskDelay(pdMS_TO_TICKS(5));   // FIX: was HAL_Delay — yields FreeRTOS
    }
    gyro_bias_x /= CAL_SAMPLES;
    gyro_bias_y /= CAL_SAMPLES;
    gyro_bias_z /= CAL_SAMPLES;

    // Re-enable motors after calibration
    HAL_GPIO_WritePin(ENABLE_PIN_GPIO_Port, ENABLE_PIN_Pin, GPIO_PIN_RESET);

    BallbotStates ekf = {0};
    TickType_t xLastWake = xTaskGetTickCount();

  /* Infinite loop */
  for(;;)
  {
      tick_count++;
            if (robot_mode == 0) {
                Set_Motor_Speeds(0, 0, 0);
                HAL_GPIO_WritePin(ENABLE_PIN_GPIO_Port, ENABLE_PIN_Pin, GPIO_PIN_SET); // Keep drivers offline

                BallbotEKF_Init();
                ekf = (BallbotStates){0};
                integral_error_x = 0.0f;
                integral_error_y = 0.0f;

                if (prev_robot_mode != robot_mode) {
                    CDC_Transmit_FS((uint8_t*)"MOTORS_DISABLED\r\n", 17);
                    if (huart2.gState == HAL_UART_STATE_READY)
                        HAL_UART_Transmit_DMA(&huart2, (uint8_t*)"MOTORS_DISABLED\r\n", 17);
                    prev_robot_mode = robot_mode;
                }

                vTaskDelayUntil(&xLastWake, EKF_PERIOD);
                continue;
            }

            if (prev_robot_mode != robot_mode) {
                HAL_GPIO_WritePin(ENABLE_PIN_GPIO_Port, ENABLE_PIN_Pin, GPIO_PIN_RESET); // Energize drivers
                xLastWake = xTaskGetTickCount();
                CDC_Transmit_FS((uint8_t*)"MOTORS_ENABLED\r\n", 16);
                if (huart2.gState == HAL_UART_STATE_READY)
                    HAL_UART_Transmit_DMA(&huart2, (uint8_t*)"MOTORS_ENABLED\r\n", 16);
                prev_robot_mode = robot_mode;
            }

       Update_Encoder_Velocities();
       MPU6050_Read_All(&hi2c1, &MPU6050);

       float gyro_x  = (MPU6050.Gx - gyro_bias_x) * D2R;
       float gyro_y  = (MPU6050.Gy - gyro_bias_y) * D2R;
       float gyro_z  = (MPU6050.Gz - gyro_bias_z) * D2R;
       float accel_x = MPU6050.Ax * 9.81f;
       float accel_y = MPU6050.Ay * 9.81f;
       float accel_z = MPU6050.Az * 9.81f;

       // ── Accel spike rejection ────────────────────────────────
       // FIX: use squared comparison — eliminates sqrtf() every loop
       // At rest: ax²+ay²+az² ≈ 9.81² = 96.2
       // Reject if outside [0.2g, 15g] → [2², 147²] = [4, 21609]
       float accel_mag2 = accel_x*accel_x + accel_y*accel_y + accel_z*accel_z;
       float safe_ax, safe_ay;
       if (accel_mag2 > (147.0f*147.0f) || accel_mag2 < (2.0f*2.0f)) {
           safe_ax =  9.81f * sinf(ekf.theta);
           safe_ay = -9.81f * sinf(ekf.phi) * cosf(ekf.theta);
       } else {
           safe_ax = accel_x;
           safe_ay = accel_y;
       }

       // CORRECT — replace the entire commented block with this
       float w1 = (float)enc1_velocity * TICKS_TO_RADS;
       float w2 = (float)enc2_velocity * TICKS_TO_RADS;
       float w3 = (float)enc3_velocity * TICKS_TO_RADS;

//       float enc_vx = (-0.3093f*w1) + (0.3093f*w2) + (0.0000f*w3);
//       float enc_vy = (-0.1786f*w1) + (-0.1786f*w2) + (0.3571f*w3);
//
       //BallbotEKF_Update(gyro_x, gyro_y, safe_ax, safe_ay,
                //               0, 0, DT_S, &ekf);

       // Forward kinematics: wheel angular velocity (rad/s) → ball linear velocity (m/s)
       float enc_vx = KIN_VX_W1*w1 + KIN_VX_W2*w2 + KIN_VX_W3*w3;
       float enc_vy = KIN_VY_W1*w1 + KIN_VY_W2*w2 + KIN_VY_W3*w3;
       BallbotEKF_Update(gyro_x, gyro_y, safe_ax, safe_ay,
                                 enc_vx, enc_vy, DT_S, &ekf);

//        if (!isfinite(ekf.phi) || !isfinite(ekf.theta) ||
//            fabsf(ekf.phi   - PHI_OFFSET)   > TILT_HARD_STOP_RAD ||
//            fabsf(ekf.theta - THETA_OFFSET) > TILT_HARD_STOP_RAD) {
//            Set_Motor_Speeds(0, 0, 0);   // stop motors FIRST
//            BallbotEKF_Init();
//            ekf = (BallbotStates){0};    // reset struct
//            vTaskDelayUntil(&xLastWake, EKF_PERIOD);
//            continue;
//        }
//        if (fabsf(ekf.phi - PHI_OFFSET) > TILT_LIMIT_RAD || fabsf(current_theta - THETA_OFFSET) > THETA_OFFSET)
//            {
//                HAL_GPIO_WritePin(ENABLE_PIN_GPIO_Port, ENABLE_PIN_Pin, GPIO_PIN_SET);
//                Set_Motor_Speeds(0, 0, 0);
//                if (tick_count % 20 == 0) {
//                    int len = snprintf(usb_buf, sizeof(usb_buf),
//                        "phi:%+5.3f the:%+5.3f | ENC:%ld %ld %ld | Steps:%ld %ld %ld\r\n",
//                        current_state[0], current_state[1],
//                        enc1_velocity, enc2_velocity, enc3_velocity,
//                        m1_speed_hz, m2_speed_hz, m3_speed_hz);
//                    if (len > 0 && len < (int)sizeof(usb_buf))
//                        CDC_Transmit_FS((uint8_t*)usb_buf, (uint16_t)len);
//                }
//                vTaskDelayUntil(&xLastWake, EKF_PERIOD);
//                continue;
//            }
//            else
//            {
//                HAL_GPIO_WritePin(ENABLE_PIN_GPIO_Port, ENABLE_PIN_Pin, GPIO_PIN_RESET);
//            }

       gyroz_filter = gyroz_LPF * gyro_z + (1.0f - gyroz_LPF) * gyroz_filter;

       current_state[0] = ekf.phi   - PHI_OFFSET;
       current_state[1] = ekf.theta - THETA_OFFSET;
       current_state[2] = 0.00f;         // psi — no yaw control yet
       current_state[3] = enc_vx;
       current_state[4] = enc_vy;
       current_state[5] = ekf.dphi;
       current_state[6] = ekf.dtheta;
       current_state[7] = gyroz_filter;

       // ── Control ─────────────────────────────────────────────
       float torques[3];
       controlLoop(DT_S, HAL_GetTick(), torques);
       convert_torque_to_speed(torques[0], torques[1], torques[2]);

       // ── Telemetry — print at 10Hz (every 20 loops × 5ms) ────
       // FIX: use snprintf return value directly, not strlen pass
//       if (tick_count % 20 == 0) {
//           int len = snprintf(usb_buf, sizeof(usb_buf),
//               "phi:%+5.3f the:%+5.3f yaw:%+5.3f |ENC_Vx:%+5.3f  ENC_Vy:%+5.3f  | ENC:%ld %ld %ld | Steps:%ld %ld %ld\r\n",
//               current_state[0], current_state[1], current_state[7],
//				enc_vx,enc_vx,
//               enc1_velocity, enc2_velocity, enc3_velocity,
//               m1_speed_hz, m2_speed_hz, m3_speed_hz);
//           if (len > 0 && len < (int)sizeof(usb_buf))
//               CDC_Transmit_FS((uint8_t*)usb_buf, (uint16_t)len);
//       }
       if (tick_count % 20 == 0) {
           int len = snprintf((char*)uart_tx_buf, sizeof(uart_tx_buf),
               "phi:%+.3f the:%+.3f yaw:%+.3f |Vx:%+.3f Vy:%+.3f | ENC:%ld %ld %ld | S:%ld %ld %ld\r\n",
               current_state[0], current_state[1], current_state[7],
			   enc_vx, enc_vy,
               enc1_velocity, enc2_velocity, enc3_velocity,
               m1_speed_hz, m2_speed_hz, m3_speed_hz);
           if (len > 0 && len < (int)sizeof(uart_tx_buf)) {
               CDC_Transmit_FS(uart_tx_buf, (uint16_t)len);
               if (huart2.gState == HAL_UART_STATE_READY)
                   HAL_UART_Transmit_DMA(&huart2, uart_tx_buf, (uint16_t)len);
           }
       }

       vTaskDelayUntil(&xLastWake, EKF_PERIOD);
  }
  /* USER CODE END Balance_Task */
}

void HAL_TIM_PeriodElapsedCallback(TIM_HandleTypeDef *htim)
{
  if (htim->Instance == TIM10)
  {
    HAL_IncTick();
  }
  /* USER CODE BEGIN Callback 1 */
  // THE 20kHz STEPPER ENGINE
  if (htim->Instance == TIM11)
    {
        uint8_t step1 = 0, step2 = 0, step3 = 0;

        // ----------------------------------------------------
        // 1. Calculate Math & Set Directions
        // ----------------------------------------------------

        // Motor 1
            HAL_GPIO_WritePin(ENABLE_PIN_GPIO_Port, ENABLE_PIN_Pin, GPIO_PIN_RESET);
            if (m1_speed_hz != 0) {
                HAL_GPIO_WritePin(M1_DIR_GPIO_Port, M1_DIR_Pin,
                                 (m1_speed_hz > 0) ? GPIO_PIN_SET : GPIO_PIN_RESET);
                m1_accumulator += abs(m1_speed_hz);
                if (m1_accumulator >= TIMER_FREQ_HZ) {
                    m1_accumulator -= TIMER_FREQ_HZ;
                    step1 = 1;
                }
            } else {
                m1_accumulator = 0;
            }

            // Motor 2
            HAL_GPIO_WritePin(ENABLE_PIN_GPIO_Port, ENABLE_PIN_Pin, GPIO_PIN_RESET);
            if (m2_speed_hz != 0) {
                HAL_GPIO_WritePin(M2_DIR_GPIO_Port, M2_DIR_Pin,
                                 (m2_speed_hz > 0) ? GPIO_PIN_SET : GPIO_PIN_RESET);
                m2_accumulator += abs(m2_speed_hz);
                if (m2_accumulator >= TIMER_FREQ_HZ) {
                    m2_accumulator -= TIMER_FREQ_HZ;
                    step2 = 1;
                }
            } else {
                m2_accumulator = 0;
            }

            // Motor 3
            HAL_GPIO_WritePin(ENABLE_PIN_GPIO_Port, ENABLE_PIN_Pin, GPIO_PIN_RESET);
            if (m3_speed_hz != 0) {
                HAL_GPIO_WritePin(ENAPLE_M3_GPIO_Port, ENAPLE_M3_Pin,
                                 (m3_speed_hz > 0) ? GPIO_PIN_SET : GPIO_PIN_RESET);
                m3_accumulator += abs(m3_speed_hz);
                if (m3_accumulator >= TIMER_FREQ_HZ) {
                    m3_accumulator -= TIMER_FREQ_HZ;
                    step3 = 1;
                }
            } else {
                m3_accumulator = 0;
            }

        // ----------------------------------------------------
        // 2. Turn HIGH all necessary STEP pins SIMULTANEOUSLY
        // ----------------------------------------------------
        if (step1) HAL_GPIO_WritePin(M1_STEP_GPIO_Port, M1_STEP_Pin, GPIO_PIN_SET);
        if (step2) HAL_GPIO_WritePin(M2_STEP_GPIO_Port, M2_STEP_Pin, GPIO_PIN_SET);
        if (step3) HAL_GPIO_WritePin(M3_STEP_GPIO_Port, M3_STEP_Pin, GPIO_PIN_SET);

        // ----------------------------------------------------
        // 3. The SHARED Delay (Only executed if at least 1 motor stepped)
        // ----------------------------------------------------
        if (step1 || step2 || step3) {
            uint32_t t0 = DWT->CYCCNT;

            // DM860H requires ~2.5 microseconds.
            // On a 100 MHz STM32F411, 1 microsecond = 100 clock cycles.
            // 2.5us * 100 = 250 cycles.
            // We use 260U just to be perfectly safe for the optocouplers.
            while ((DWT->CYCCNT - t0) < 260U);
        }

        // ----------------------------------------------------
        // 4. Turn LOW all necessary STEP pins
        // ----------------------------------------------------
        if (step1) HAL_GPIO_WritePin(M1_STEP_GPIO_Port, M1_STEP_Pin, GPIO_PIN_RESET);
        if (step2) HAL_GPIO_WritePin(M2_STEP_GPIO_Port, M2_STEP_Pin, GPIO_PIN_RESET);
        if (step3) HAL_GPIO_WritePin(M3_STEP_GPIO_Port, M3_STEP_Pin, GPIO_PIN_RESET);
    }
  /* USER CODE END Callback 1 */
}

void Error_Handler(void)
{
  __disable_irq();
  while (1)
  {
  }
}
